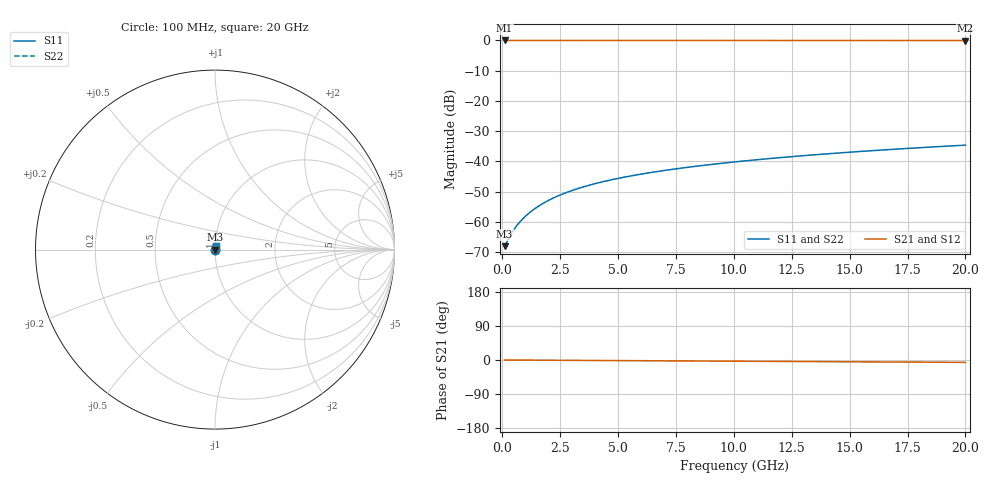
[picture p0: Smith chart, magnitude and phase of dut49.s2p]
! Touchstone file exported from HFSS 2026.1.0
!  File:  C:/ffzhzh/LocalFiles/Ansys_Project_Files/temp_train_TSV_49_1782958771_45308.aedt
!  Generated:  10:21:10 AM Jul  2, 2026
!  Design:  TSV
!  Project:  temp_train_TSV_49_1782958771_45308
! Variables:
!  h_bsmrdl = 2um
!  h_ox = 20um
!  h_rdl = 5um
!  h_sub = 63.88um
!  h_tmrdl = 5um
!  h_tsv = 63.88um
!  h_via = 3um
!  l_bsmrdl = 300um
!  l_sub = 409.3um
!  l_tmrdl = 200um
!  m_sub = 200um
!  pitch = 23.53um
!  r_tsv = 4.65um
!  s_tmrdl = 10um
!  w_bsmrdl = 18um
!  w_sub = 500um
!  w_tmrdl = 12um
!  x_tsv_center1 = 206um
!  x_tsv_center2 = 524um
!  x_tsv_center3 = 736um
!  x_tsv_center4 = 1054um
!  x_tsv_center5 = 1266um
!  x_tsv_center6 = 1584um
# GHz S MA R 50.000000
! Terminal data exported
! Port[1] = TSV1_1_T1
! Port[2] = TSV1_1_T2
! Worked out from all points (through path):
!   200 points, 100 MHz to 20 GHz, reference 50 ohm
!   highest |S21| = 0.00 dB at 100 MHz (marker M1); lowest = 0.0 dB at 20 GHz (marker M2)
!   lowest |S11| = -68.0 dB at 100 MHz (marker M3), VSWR 1.00, Z = 50 + j0.0135 ohm
!   |S11| at or under -10 dB: start of sweep to end of sweep
!   |S22| runs from -68.0 to -34.6 dB; largest |S21 - S12| = 3.2e-15
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0.1  0.000398 19.8  0.9996 -0.0  0.9996 -0.0  0.000398 19.8
! Gamma 0 0 0 0
! Port Impedance 50 0 50 0
0.3  0.000559 43.2  0.9996 -0.1  0.9996 -0.1  0.000559 43.2
0.4  0.0006532 49.4  0.9996 -0.1  0.9996 -0.1  0.0006532 49.4
0.6  0.0008456 57.5  0.9995 -0.2  0.9995 -0.2  0.0008456 57.5
0.7  0.0009433 60.4  0.9995 -0.2  0.9995 -0.2  0.0009433 60.4
0.9  0.001142 64.7  0.9995 -0.3  0.9995 -0.3  0.001142 64.7
1.1  0.001345 67.8  0.9995 -0.4  0.9995 -0.4  0.001345 67.8
1.3  0.001551 70.1  0.9995 -0.4  0.9995 -0.4  0.001551 70.1
1.7  0.001965 73.0  0.9994 -0.6  0.9994 -0.6  0.001965 73.0
2.2  0.002484 75.1  0.9994 -0.7  0.9994 -0.7  0.002484 75.1
2.8  0.003099 76.4  0.9993 -0.9  0.9993 -0.9  0.003099 76.4
3.5  0.0038 77.2  0.9992 -1.1  0.9992 -1.1  0.0038 77.2
4.2  0.004485 77.6  0.9991 -1.3  0.9991 -1.3  0.004485 77.6
5  0.005248 77.9  0.999 -1.6  0.999 -1.6  0.005248 77.9
5.9  0.006089 78.1  0.9989 -1.9  0.9989 -1.9  0.006089 78.1
6.8  0.006915 78.3  0.9988 -2.2  0.9988 -2.2  0.006915 78.3
8.3  0.008272 78.5  0.9987 -2.6  0.9987 -2.6  0.008272 78.5
10.1  0.009884 78.6  0.9985 -3.2  0.9985 -3.2  0.009884 78.6
11.7  0.01131 78.7  0.9984 -3.7  0.9984 -3.7  0.01131 78.7
13.4  0.01282 78.6  0.9983 -4.2  0.9983 -4.2  0.01282 78.6
16.7  0.01572 78.2  0.9981 -5.2  0.9981 -5.2  0.01572 78.2
20  0.0186 77.6  0.9978 -6.3  0.9978 -6.3  0.0186 77.6
